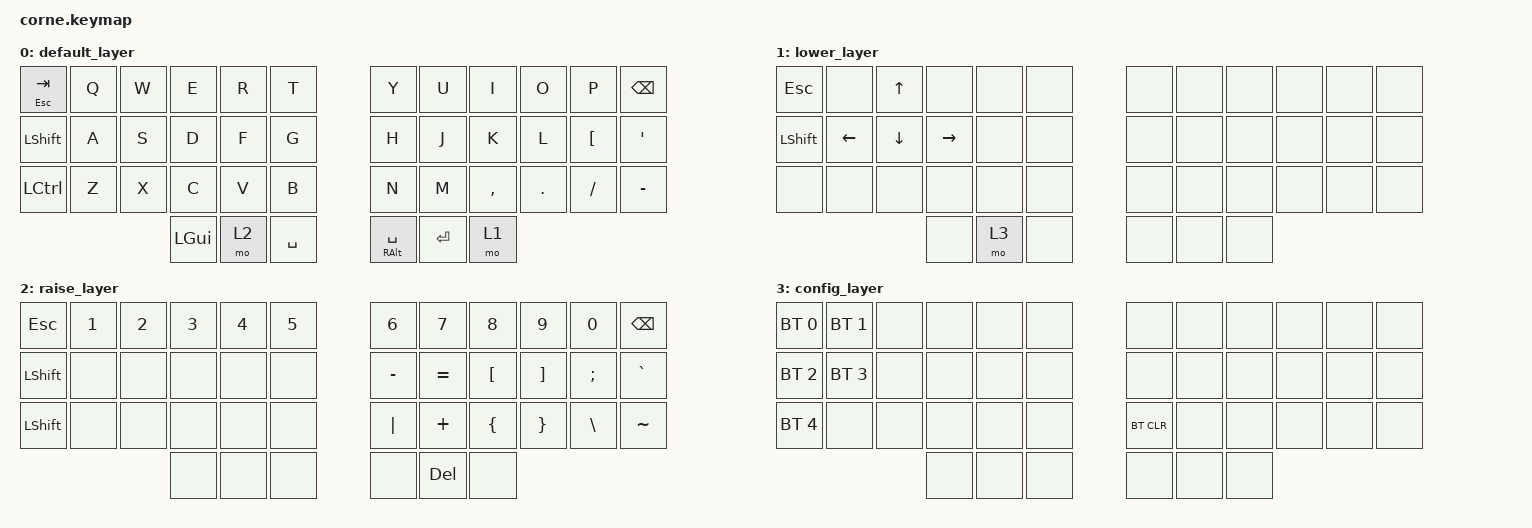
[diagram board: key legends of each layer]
/*
* Copyright (c) 2020 The ZMK Contributors
*
* SPDX-License-Identifier: MIT
*/

#include <behaviors.dtsi>
#include <dt-bindings/zmk/keys.h>
#include <dt-bindings/zmk/bt.h>

/ {
behaviors {
pht: positional_hold_tap {
compatible = "zmk,behavior-hold-tap";
#binding-cells = <2>;
flavor = "hold-preferred";
tapping-term-ms = <400>;
quick-tap-ms = <200>;
bindings = <&kp>, <&kp>;
hold-trigger-key-positions = <1>;  
};
};

keymap {
compatible = "zmk,keymap";

default_layer {
// -----------------------------------------------------------------------------------------
// |  TAB |  Q  |  W  |  E  |  R  |  T  |                                                            |  Y  |  U   |  I  |  O  |  P  | BKSP |
// | LSHFT|  A  |  S  |  D  |  F  |  G  |                                                            |  H  |  J   |  K  |  L  |  {  |  '   |
// | CTRL |  Z  |  X  |  C  |  V  |  B  |                                                            |  N  |  M   |  ,  |  .  |  /  |  -   |
//                    | GUI | mod2| SPC |                                                            | SPC | ENT  | mod1|
bindings = <
&pht ESC TAB    &kp Q &kp W &kp E    &kp R &kp T                                                           &kp Y &kp U  &kp I     &kp O    &kp P    &kp BSPC
&kp LSHFT       &kp A &kp S &kp D    &kp F &kp G                                                           &kp H &kp J  &kp K     &kp L    &kp LBKT &kp SQT
&kp LCTRL       &kp Z &kp X &kp C    &kp V &kp B                                                           &kp N &kp M  &kp COMMA &kp DOT  &kp FSLH &kp MINUS                     
                      &kp LGUI &mo 2 &kp SPACE                                                       &pht RIGHT_ALT SPACE   &kp RET  &mo 1
>;
};
lower_layer {
// -----------------------------------------------------------------------------------------
// |  ESC |     |  UP  |     |     |     |                                                            |     |     |     |     |     |      |
// |      | LEFT|DOWN  |RIGHT|     |     |                                                            |     |     |     |     |     |      |
// |      |     |      |     |     |     |                                                            |     |     |     |     |     |      |
//                     |     |mod3 |     |                                                            |     |     |     |
bindings = <
   
   &kp ESC    &none        &kp UP          &none         &none    &none                                  &none       &none   &none  &none    &none  &none
   &kp LSHFT  &kp LEFT     &kp DOWN        &kp RIGHT     &none    &none                                  &none       &none   &none  &none    &none  &none
   &none      &none        &none           &none         &none    &none                                  &none       &none   &none  &none    &none  &none
                                           &none         &mo 3    &none                                  &none       &none   &none
>; 
};

raise_layer {
// -----------------------------------------------------------------------------------------
// |  ESC  |  !  |  @  |  #  |  $  |  %  |                                                            |  ^  |  &  |  *  |  (  |  )  | BKSP |
// | LCTRL |     |     |     |     |     |                                                            |  -  |  =  |  [  |  ]  |  \  |  `   |
// | LSHFT |     |     |     |     |     |                                                            |  _  |  +  |  {  |  }  | "|" |  ~   |
//                     |     |     |     |                                                            |     |     |     |
bindings = <
&kp ESC     &kp N1     &kp N2       &kp N3     &kp N4    &kp N5                                        &kp N6 &kp N7  &kp N8 &kp N9  &kp N0 &kp BSPC
&kp LSHFT   &none      &none        &none      &none     &none                                         &kp MINUS &kp EQUAL &kp LBKT  &kp RBKT   &kp SEMICOLON &kp GRAVE
&kp LSHFT   &none      &none        &none      &none     &none                                        &kp PIPE &kp PLUS  &kp LBRC  &kp RBRC  &kp BSLH  &kp TILDE //&kp UNDER &kp PLUS  &kp LCURL &kp RCURL &kp PIPE &kp TILDE
                                    &none      &none     &none                                         &none    &kp DEL    &none
>;
};

config_layer {
// -----------------------------------------------------------------------------------------
// |  BT1 | BT2 |     |     |     |     |                                                             |     |     |     |     |     |      |
// |  BT3 | BT4 |     |     |     |     |                                                             |     |     |     |     |     |      |
// |  BT5 |     |     |     |     |     |                                                             |BTCLR|     |     |     |     |      |
//                    |     |     |     |                                                             |     |     |     |
bindings = <
&bt BT_SEL 0 &bt BT_SEL 1 &none   &none     &none    &none                                        &none       &none    &none  &none   &none   &none 
&bt BT_SEL 2 &bt BT_SEL 3 &none   &none     &none    &none                                        &none       &none    &none  &none   &none   &none
&bt BT_SEL 4 &none        &none   &none     &none    &none                                        &bt BT_CLR  &none    &none  &none   &none   &none
                                  &none     &none    &none                                        &none       &none    &none
>;
};



};
};
